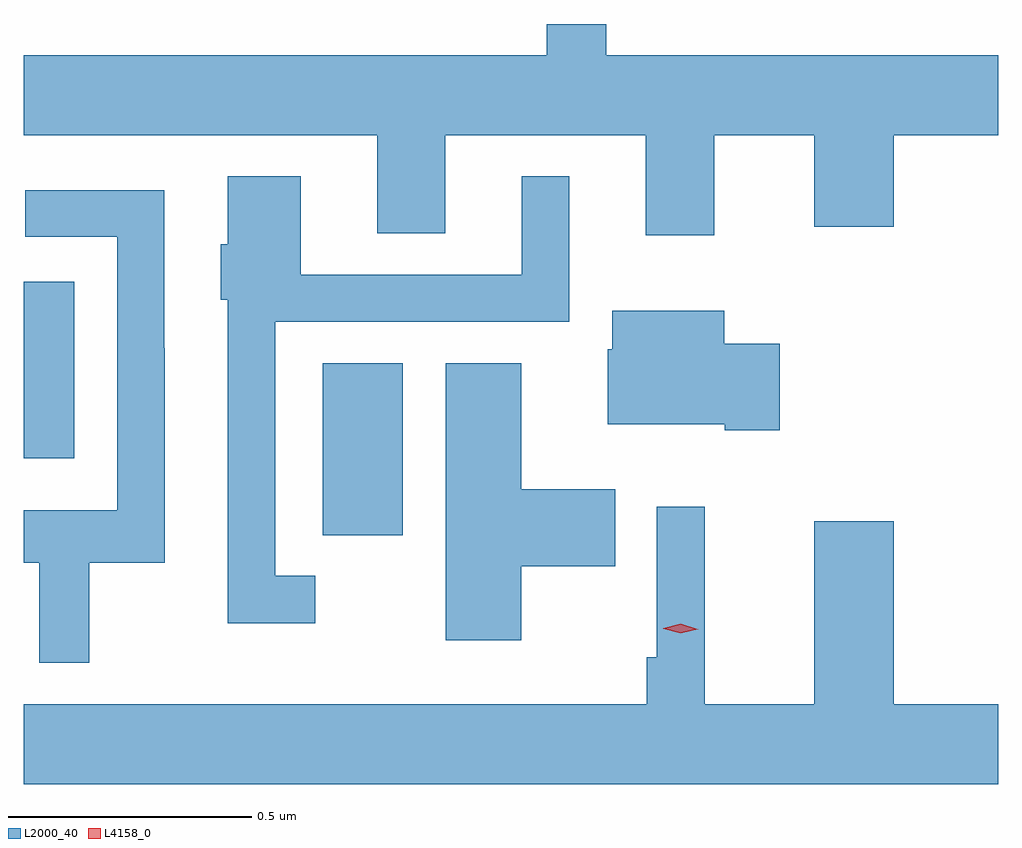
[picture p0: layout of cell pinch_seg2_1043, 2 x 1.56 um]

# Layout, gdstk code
import gdstk
lib = gdstk.Library(unit=1e-6, precision=1e-09)
def R(c, l, rs):  # rectangles x0, y0, x1, y1
    for r in rs: c.add(gdstk.rectangle(r[:2], r[2:], *l))
def P(c, l, *ps):  # polygons
    for p in ps: c.add(gdstk.Polygon(p, *l))
L2000_40 = (2000, 40)
L4158_0 = (4158, 0)

pinch_seg2_1043 = lib.new_cell('pinch_seg2_1043')
R(pinch_seg2_1043, L2000_40, [(355.808,608.187,355.972,608.54), (355.194,608.345,355.297,608.707)])
P(pinch_seg2_1043, L2000_40, [(356.389,609.236),(356.267,609.236),(356.267,609.172),(355.194,609.172),(355.194,609.008),(355.919,609.008),(355.919,608.806),(356.059,608.806),(356.059,609.008),(356.471,609.008),(356.471,608.802),(356.611,608.802),(356.611,609.008),(356.816,609.008),(356.816,608.82),(356.98,608.82),(356.98,609.008),(357.194,609.008),(357.194,609.172),(356.389,609.172)],
  [(355.792,608.103),(355.71,608.103),(355.71,608.625),(356.314,608.625),(356.314,608.923),(356.216,608.923),(356.216,608.721),(355.762,608.721),(355.762,608.923),(355.613,608.923),(355.613,608.784),(355.598,608.784),(355.598,608.67),(355.613,608.67),(355.613,608.006),(355.792,608.006)],
  [(355.328,608.13),(355.483,608.13),(355.483,608.57),(355.482,608.57),(355.482,608.895),(355.197,608.895),(355.197,608.799),(355.386,608.799),(355.386,608.238),(355.194,608.238),(355.194,608.13),(355.226,608.13),(355.226,607.925),(355.328,607.925)],
  [(356.746,608.58),(356.632,608.58),(356.632,608.647),(356.402,608.647),(356.402,608.568),(356.393,608.568),(356.393,608.414),(356.633,608.414),(356.633,608.402),(356.746,608.402)],
  [(356.215,608.123),(356.408,608.123),(356.408,608.281),(356.215,608.281),(356.215,608.54),(356.06,608.54),(356.06,607.971),(356.215,607.971)],
  [(357.194,607.84),(356.98,607.84),(356.98,608.215),(356.816,608.215),(356.816,607.84),(356.592,607.84),(356.592,608.245),(356.493,608.245),(356.493,607.936),(356.473,607.936),(356.473,607.84),(355.194,607.84),(355.194,607.676),(357.194,607.676)])
P(pinch_seg2_1043, L4158_0, [(356.542,607.985),(356.506,607.995),(356.506,607.995),(356.506,607.996),(356.542,608.005),(356.577,607.994),(356.578,607.994),(356.577,607.994)])

lib.write_gds('pinch_seg2_1043.gds')
